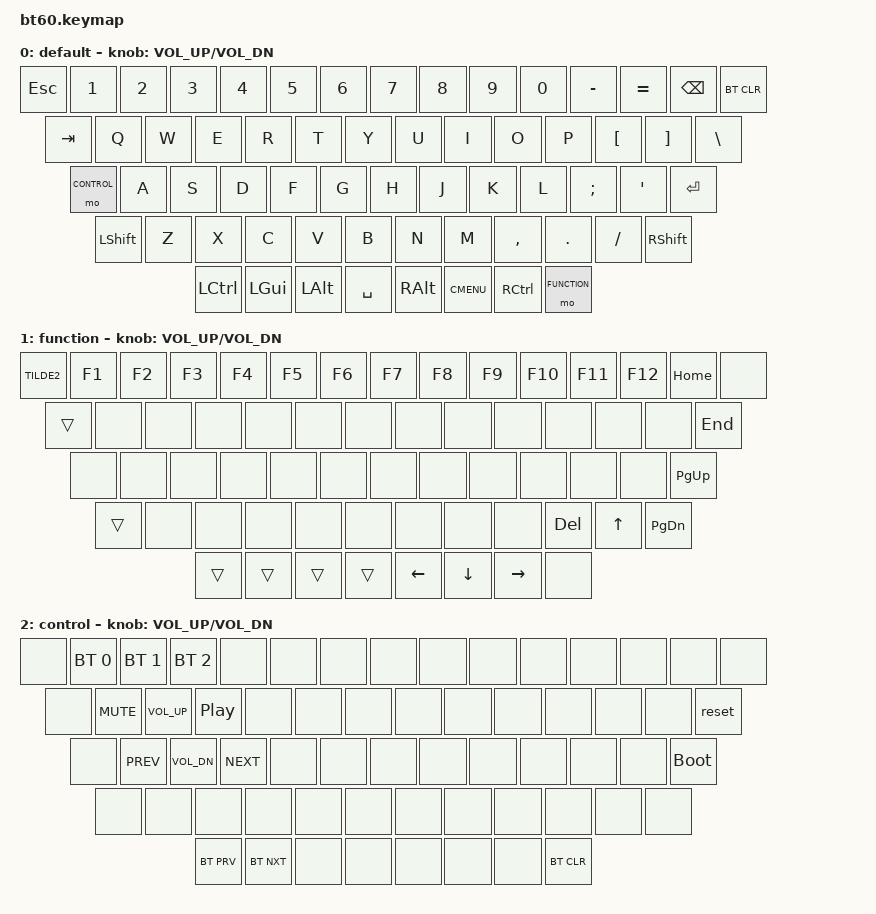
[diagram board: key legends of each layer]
   
#include <behaviors.dtsi>
#include <dt-bindings/zmk/keys.h>
#include <dt-bindings/zmk/bt.h>

#define DEFAULT 0
#define FUNCTION 1
#define CONTROL 2

/ {
	keymap {
		compatible = "zmk,keymap";

		default {
				// ------------------------------------------------------------------------------------------
				// | ESC |  1  |  2  |  3  |  4  |  5  |  6  |  7  |  8  |  9  |  0  |  -  |  =  |   BKSP   | DEL
				// | TAB  |  Q  |  W  |  E  |  R  |  T  |  Y  |  U  |  I  |  O  |  P  |  [  |  ]  |   |    |
				// | CAPS  |  A  |  S  |  D  |  F  |  G  |  H  |  J  |  K  |  L  |  ;  |  '  |     ENTER    |
				// |  SHIFT    |  Z  |  X  |  C  |  V  |  B  |  N  |  M  |  ,  |  .  | /   |      SHIFT     |
				// |  CTL  |  WIN  |  ALT  |            SPACE               | ALT | 1    |  MENU    |  CTRL    |
				// ------------------------------------------------------------------------------------------
			bindings = <
				&kp ESC &kp N1 &kp N2 &kp N3 &kp N4 &kp N5 &kp N6 &kp N7 &kp  N8   &kp  N9 &kp  N0  &kp MINUS &kp EQUAL &kp BSPC &bt BT_CLR
				&kp TAB  &kp Q  &kp W  &kp E  &kp R  &kp T  &kp Y  &kp U  &kp  I    &kp  O  &kp  P   &kp LBKT &kp RBKT  &kp BSLH
				&mo CONTROL  &kp A  &kp S  &kp D  &kp F  &kp G  &kp H  &kp J  &kp  K    &kp  L  &kp SEMI &kp SQT           &kp RET
				&kp LSHFT  &kp Z  &kp X  &kp C  &kp V  &kp B  &kp N  &kp M  &kp COMMA &kp DOT &kp FSLH             &kp RSHFT
				&kp LCTRL &kp LGUI &kp LALT            &kp SPACE                          &kp RALT &kp K_CMENU &kp RCTRL &mo FUNCTION
			>;
			sensor-bindings = <&inc_dec_kp C_VOL_UP C_VOL_DN>;
		};
		function {
			bindings = <
				&kp TILDE2 &kp F1 &kp F2 &kp F3 &kp F4 &kp F5 &kp F6 &kp F7 &kp  F8   &kp  F9 &kp  F10  &kp F11 &kp F12   &kp HOME &none
				&trans &none &none &none &none &none &none &none &none &none &none &none &none &kp END
				&none    &none &none &none &none &none &none &none &none &none &none  &none  &kp PG_UP
				&trans &none &none &none &none &none &none &none &none &kp DEL &kp UP  &kp PG_DN
				&trans &trans  &trans              &trans              &kp LEFT   &kp DOWN   &kp RIGHT &none
			>;
			sensor-bindings = <&inc_dec_kp C_VOL_UP C_VOL_DN>;
		};
        control {
			bindings = <
				&none &bt BT_SEL 0 &bt BT_SEL 1 &bt BT_SEL 2 &none &none &none &none &none &none &none &none &none &none &none
				&none &kp C_MUTE &kp C_VOL_UP &kp C_PP &none &none &none &none &none &none &none &none &none &reset
				&none &kp C_PREV &kp C_VOL_DN &kp C_NEXT &none &none &none &none &none &none &none  &none  &bootloader
				&none &none &none &none &none &none &none &none &none &none &none  &none
				&bt BT_PRV &bt BT_NXT  &none              &none                           &none   &none   &none &bt BT_CLR
			>;
			sensor-bindings = <&inc_dec_kp C_VOL_UP C_VOL_DN>;
		};
	};
};
